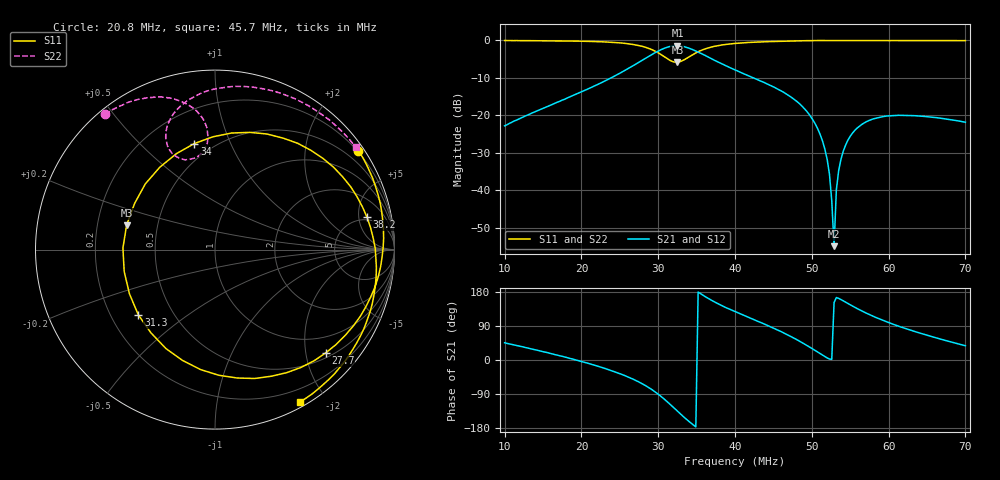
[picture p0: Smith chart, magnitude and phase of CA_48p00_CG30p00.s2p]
#  HZ  S  RI  R  50.00
! Rohde & Schwarz ZVT8 8Ports - Version 4.11 - 1300.0000k08 SN: 100242
! Date: 2026-07-31 15:08:33
! Measurements: S11 S21 S12 S22
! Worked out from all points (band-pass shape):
!   201 points, 10 MHz to 70 MHz, reference 50 ohm
!   highest |S21| = -1.42 dB at 32.5 MHz (marker M1); lowest = -55.0 dB at 52.9 MHz (marker M2)
!   |S21| within 3 dB of the highest: 28.65 MHz to 36.49 MHz (7.849 MHz wide, 24.1 % of centre)
!   lowest |S11| = -5.8 dB at 32.5 MHz (marker M3), VSWR 3.09, Z = 16.4 + j6.07 ohm
!   |S11| at or under -10 dB: nowhere
!   |S22| runs from -5.6 to 0.0 dB; largest |S21 - S12| = 0.0023
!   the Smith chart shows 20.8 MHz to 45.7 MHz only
!   S11 on the Smith chart (normalised r, x): 20.8 MHz: 0.17, +3.21; 27.7 MHz: 0.60, -2.41; 31.3 MHz: 0.32, -0.34; 34 MHz: 0.40, +0.74; 38.2 MHz: 4.49, +6.45; 45.7 MHz: 0.05, -1.70
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1e7  -0.4045 0.9105  0.0507 0.0517  0.0503 0.0516  -0.9199 0.3819
1.54e7  0.2326 0.9599  0.1208 0.0448  0.1208 0.0443  -0.8034 0.5772
2.02e7  0.7498 0.6214  0.2091 -0.018  0.2083 -0.0179  -0.6387 0.7349
2.08e7  0.7992 0.5503  0.2211 -0.0322  0.2211 -0.032  -0.6138 0.7547
2.47e7  0.9308 -0.0422  0.2916 -0.1956  0.2913 -0.1936  -0.4035 0.8408
2.77e7  0.6168 -0.5754  0.2603 -0.4573  0.2592 -0.4581  -0.1881 0.8261
3.01e7  -0.0793 -0.6689  -0.0231 -0.7294  -0.0223 -0.7296  -0.0447 0.6765
3.13e7  -0.4271 -0.3637  -0.3119 -0.7557  -0.3108 -0.7556  -0.0554 0.5653
3.25e7  -0.4924 0.1364  -0.5984 -0.6023  -0.5982 -0.6013  -0.1396 0.5038
3.4e7  -0.115 0.591  -0.7494 -0.2431  -0.7481 -0.2431  -0.2528 0.555
3.82e7  0.847 0.1799  -0.4003 0.2866  -0.3996 0.2852  -0.0982 0.8607
4e7  0.8977 -0.1528  -0.2471 0.3193  -0.2466 0.3194  0.0829 0.9073
4.57e7  0.4729 -0.85  0.047 0.2147  0.046 0.2147  0.7844 0.5698
5.02e7  -0.0783 -0.9913  0.075 0.0399  0.075 0.0402  0.8538 -0.4998
5.2e7  -0.2985 -0.9527  0.0257 0.00246  0.0257 0.00258  0.426 -0.8975
5.26e7  -0.3674 -0.9261  0.0072 0.000218  0.00722 0.000176  0.2373 -0.9645
5.29e7  -0.4023 -0.9128  -0.00157 0.00085  -0.00154 0.00085  0.1397 -0.984
5.32e7  -0.4342 -0.8987  -0.00981 0.00267  -0.00981 0.00267  0.0416 -0.9931
5.44e7  -0.5587 -0.8253  -0.0355 0.0184  -0.0355 0.0184  -0.3287 -0.9374
5.68e7  -0.7633 -0.6375  -0.0471 0.0633  -0.047 0.0633  -0.8226 -0.5532
6.01e7  -0.9417 -0.3095  -0.0139 0.0973  -0.0139 0.0971  -0.9891 0.0313
7e7  -0.6874 0.717  0.064 0.0492  0.0639 0.0492  -0.5155 0.849
